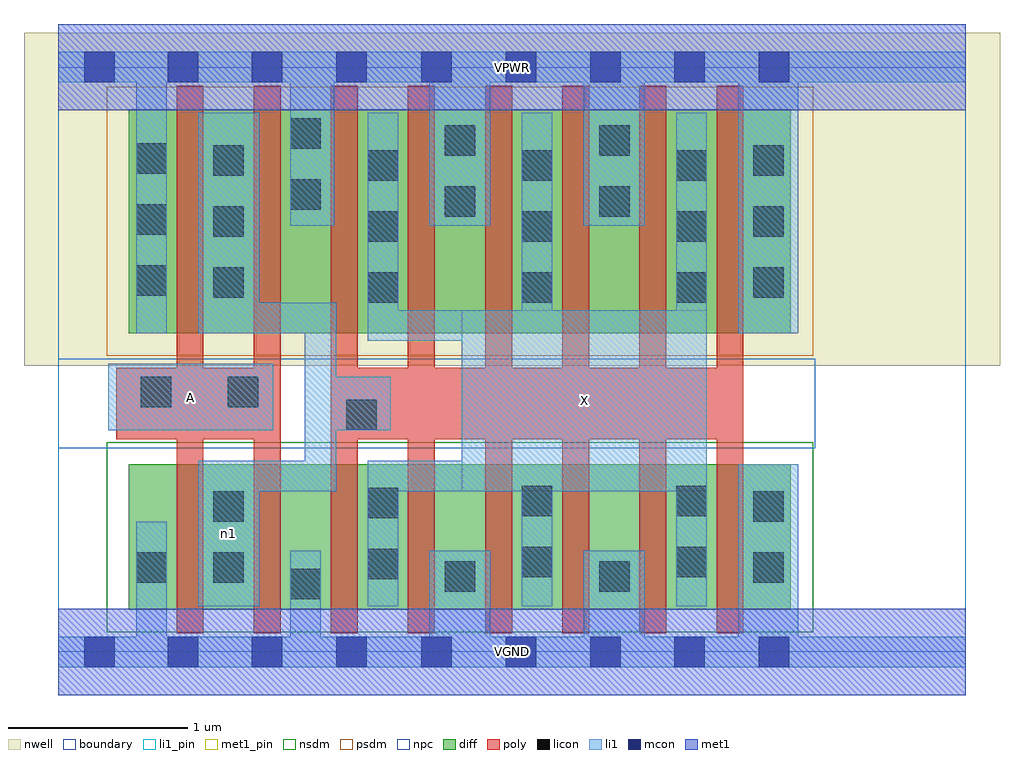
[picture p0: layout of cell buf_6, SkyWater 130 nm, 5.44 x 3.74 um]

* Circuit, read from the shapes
.subckt buf_6 A VGND VPWR X n1
XM1 n1 A VGND VSUBS sky130_fd_pr__nfet_01v8 w=0.81 l=0.15 m=2
XM2 X n1 VGND VSUBS sky130_fd_pr__nfet_01v8 w=0.81 l=0.15 m=6
XM3 n1 A VPWR n2 sky130_fd_pr__pfet_01v8 w=1.25 l=0.15 m=2
XM4 X n1 VPWR n2 sky130_fd_pr__pfet_01v8 w=1.25 l=0.15 m=6
.ends

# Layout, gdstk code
import gdstk
lib = gdstk.Library(unit=1e-6, precision=1e-09)
def R(c, l, rs):  # rectangles x0, y0, x1, y1
    for r in rs: c.add(gdstk.rectangle(r[:2], r[2:], *l))
def A(c, l, x, y, w, h, nx, ny, dx, dy):  # array of equal rectangles
    R(c, l, [(x+i*dx, y+j*dy, x+i*dx+w, y+j*dy+h) for i in range(nx) for j in range(ny)])
nwell = (64, 20)
diff = (65, 20)
poly = (66, 20)
licon = (66, 44)
li1_pin = (67, 16)
li1 = (67, 20)
mcon = (67, 44)
met1_pin = (68, 16)
met1 = (68, 20)
nsdm = (93, 44)
psdm = (94, 20)
npc = (95, 20)
boundary = (235, 4)

buf_6 = lib.new_cell('buf_6')
R(buf_6, nwell, [(-0.19,1.595,5.25,3.45), (0,1.595,5.06,3.45)])
R(buf_6, diff, [(0.395,0.235,4.085,1.045), (0.395,1.775,4.085,3.025)])
A(buf_6, poly, 0.66, 0.105, 0.15, 3.05, 8, 1, 0.43, 0)
R(buf_6, poly, [(0.325,1.185,1.24,1.585), (1.52,1.185,3.82,1.585)])
A(buf_6, licon, 1.725, 1.945, 0.17, 0.17, 3, 3, 0.86, 0.34)
A(buf_6, licon, 0.865, 1.975, 0.17, 0.17, 1, 3, 0, 0.34)
A(buf_6, licon, 3.875, 1.975, 0.17, 0.17, 1, 3, 0, 0.34)
A(buf_6, licon, 0.435, 1.985, 0.17, 0.17, 1, 3, 0, 0.34)
R(buf_6, licon, [(1.295,0.295,1.465,0.465), (2.155,0.335,2.325,0.505), (3.015,0.335,3.185,0.505), (0.435,0.385,0.605,0.555), (0.865,0.385,1.035,0.555), (3.875,0.385,4.045,0.555), (1.725,0.405,1.895,0.575), (2.585,0.415,2.755,0.585), (3.445,0.415,3.615,0.585), (0.865,0.725,1.035,0.895), (3.875,0.725,4.045,0.895), (1.725,0.745,1.895,0.915), (2.585,0.755,2.755,0.925), (3.445,0.755,3.615,0.925), (1.605,1.235,1.775,1.405), (0.46,1.365,0.63,1.535), (0.945,1.365,1.115,1.535), (2.155,2.425,2.325,2.595), (3.015,2.425,3.185,2.595), (1.295,2.465,1.465,2.635), (2.155,2.765,2.325,2.935), (3.015,2.765,3.185,2.935), (1.295,2.805,1.465,2.975)])
R(buf_6, li1_pin, [(2.25,0.895,3.615,1.905), (0.28,1.235,1.2,1.605)])
R(buf_6, li1, [(0,-0.085,5.06,0.085), (0.435,-0.085,0.605,0.725), (1.295,-0.085,1.465,0.565), (2.07,-0.085,2.41,0.565), (2.93,-0.085,3.27,0.565), (3.79,-0.085,4.125,1.045), (0.78,0.255,1.12,1.065), (1.725,0.255,1.895,1.065), (2.585,0.255,2.755,3.005), (3.445,0.255,3.615,3.005), (0.78,0.895,1.55,1.065), (1.375,0.895,1.55,1.945), (1.725,0.895,3.615,1.065), (2.25,0.895,3.615,1.905), (0.28,1.235,1.2,1.605), (1.375,1.235,1.855,1.535), (1.725,1.735,3.615,1.905), (1.725,1.735,1.895,3.005), (0.435,1.775,0.605,3.345), (0.78,1.775,1.55,1.945), (0.78,1.775,1.12,3.005), (3.79,1.775,4.125,3.345), (1.295,2.375,1.54,3.345), (2.07,2.375,2.41,3.345), (2.93,2.375,3.27,3.345), (0,3.175,5.06,3.345)])
A(buf_6, mcon, 0.61, -0.085, 0.17, 0.17, 3, 2, 0.47, 3.26)
A(buf_6, mcon, 2.025, -0.085, 0.17, 0.17, 5, 2, 0.47, 3.26)
R(buf_6, mcon, [(0.145,-0.085,0.315,0.085), (0.145,3.175,0.315,3.345)])
R(buf_6, met1_pin, [(0,-0.24,5.06,0.24), (0,3.02,5.06,3.5)])
R(buf_6, met1, [(0,-0.24,5.06,0.24), (0,3.02,5.06,3.5)])
R(buf_6, nsdm, [(0.27,0.11,4.21,1.17)])
R(buf_6, psdm, [(0.27,1.65,4.21,3.15)])
R(buf_6, npc, [(0,1.135,4.22,1.635)])
R(buf_6, boundary, [(0,0,5.06,3.26)])
buf_6.add(gdstk.Label('A', (0.74,1.42), layer=67, texttype=5))
buf_6.add(gdstk.Label('X', (2.932,1.4), layer=67, texttype=5))
buf_6.add(gdstk.Label('n1', (0.95,0.66), layer=67, texttype=5))
buf_6.add(gdstk.Label('VPWR', (2.53,3.26), layer=68, texttype=5))
buf_6.add(gdstk.Label('VGND', (2.53,0), layer=68, texttype=5))
buf_6.add(gdstk.Label('A', (0.74,1.42), layer=67, texttype=16))
buf_6.add(gdstk.Label('X', (2.932,1.4), layer=67, texttype=16))
buf_6.add(gdstk.Label('VPWR', (2.53,3.26), layer=68, texttype=16))
buf_6.add(gdstk.Label('VGND', (2.53,0), layer=68, texttype=16))

lib.write_gds('buf_6.gds')
